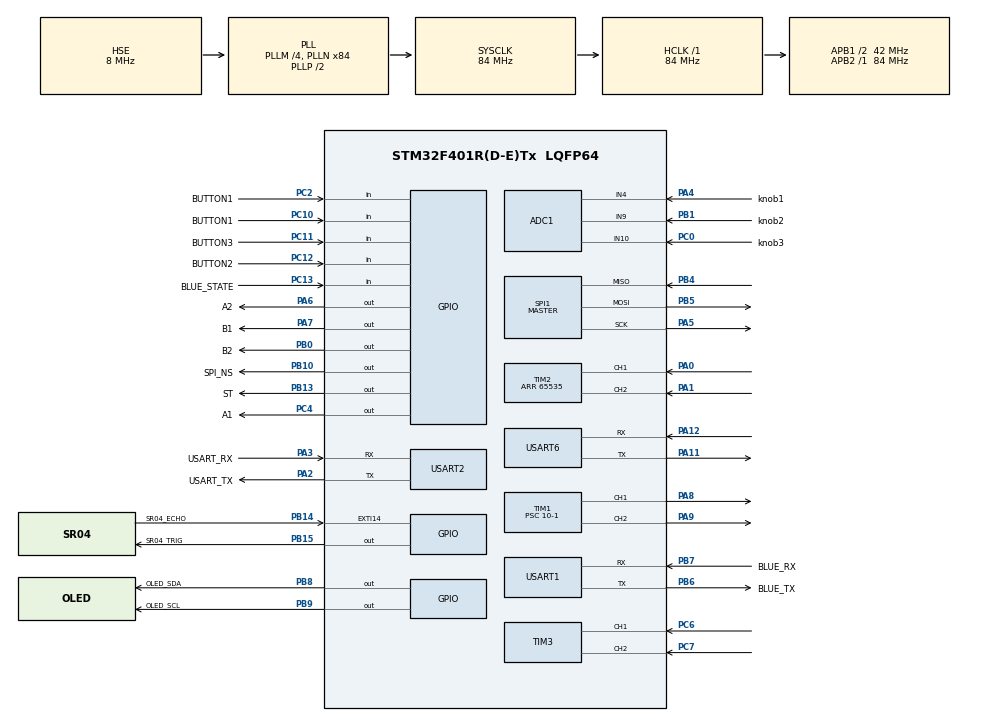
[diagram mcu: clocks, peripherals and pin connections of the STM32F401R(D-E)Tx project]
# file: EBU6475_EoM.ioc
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ADC1.Channel-0\#ChannelRegularConversion=ADC_CHANNEL_4
ADC1.Channel-1\#ChannelRegularConversion=ADC_CHANNEL_9
ADC1.Channel-2\#ChannelRegularConversion=ADC_CHANNEL_10
ADC1.NbrOfConversion=3
ADC1.NbrOfConversionFlag=1
ADC1.Rank-0\#ChannelRegularConversion=1
ADC1.Rank-1\#ChannelRegularConversion=2
ADC1.Rank-2\#ChannelRegularConversion=3
ADC1.SamplingTime-0\#ChannelRegularConversion=ADC_SAMPLETIME_28CYCLES
ADC1.SamplingTime-1\#ChannelRegularConversion=ADC_SAMPLETIME_28CYCLES
ADC1.SamplingTime-2\#ChannelRegularConversion=ADC_SAMPLETIME_28CYCLES
ADC1.master=1
Dma.ADC1.2.Direction=DMA_PERIPH_TO_MEMORY
Dma.ADC1.2.FIFOMode=DMA_FIFOMODE_DISABLE
Dma.ADC1.2.Instance=DMA2_Stream0
Dma.ADC1.2.MemDataAlignment=DMA_MDATAALIGN_WORD
Dma.ADC1.2.MemInc=DMA_MINC_ENABLE
Dma.ADC1.2.Mode=DMA_NORMAL
Dma.ADC1.2.PeriphDataAlignment=DMA_PDATAALIGN_WORD
Dma.ADC1.2.PeriphInc=DMA_PINC_DISABLE
Dma.ADC1.2.Priority=DMA_PRIORITY_LOW
Dma.Request0=USART1_RX
Dma.Request1=USART1_TX
Dma.Request2=ADC1
Dma.USART1_RX.0.Direction=DMA_PERIPH_TO_MEMORY
Dma.USART1_RX.0.FIFOMode=DMA_FIFOMODE_DISABLE
Dma.USART1_RX.0.Instance=DMA2_Stream2
Dma.USART1_RX.0.MemDataAlignment=DMA_MDATAALIGN_BYTE
Dma.USART1_RX.0.MemInc=DMA_MINC_ENABLE
Dma.USART1_RX.0.Mode=DMA_NORMAL
Dma.USART1_RX.0.PeriphDataAlignment=DMA_PDATAALIGN_BYTE
Dma.USART1_RX.0.PeriphInc=DMA_PINC_DISABLE
Dma.USART1_RX.0.Priority=DMA_PRIORITY_LOW
Dma.USART1_TX.1.Direction=DMA_MEMORY_TO_PERIPH
Dma.USART1_TX.1.FIFOMode=DMA_FIFOMODE_DISABLE
Dma.USART1_TX.1.Instance=DMA2_Stream7
Dma.USART1_TX.1.MemDataAlignment=DMA_MDATAALIGN_BYTE
Dma.USART1_TX.1.MemInc=DMA_MINC_ENABLE
Dma.USART1_TX.1.Mode=DMA_NORMAL
Dma.USART1_TX.1.PeriphDataAlignment=DMA_PDATAALIGN_BYTE
Dma.USART1_TX.1.PeriphInc=DMA_PINC_DISABLE
Dma.USART1_TX.1.Priority=DMA_PRIORITY_LOW
FREERTOS.Tasks01=Task_OLED,16,400,AppTask_OLED,Default,NULL,Dynamic,NULL,NULL;Task_CarControl,40,400,AppTask_CarControl,Default,NULL,Dynamic,NULL,NULL;Task_SR04,32,300,AppTask_SR04,Default,NULL,Dynamic,NULL,NULL;Task_Bluetooth,24,384,AppTask_Bluetooth,Default,NULL,Dynamic,NULL,NULL;Task_Knob,8,256,AppTask_Knob,Default,NULL,Dynamic,NULL,NULL;Taks_ObsAvoid,8,256,AppTask_ObsAvoid,Default,NULL,Dynamic,NULL,NULL;Task_Abnormal,24,128,AppTask_AbnormalDetect,Default,NULL,Dynamic,NULL,NULL
FREERTOS.configGENERATE_RUN_TIME_STATS=1
FREERTOS.configRECORD_STACK_HIGH_ADDRESS=1
FREERTOS.configUSE_STATS_FORMATTING_FUNCTIONS=1
Mcu.Family=STM32F4
Mcu.Name=STM32F401R(D-E)Tx
Mcu.Package=LQFP64
NVIC.DMA2_Stream0_IRQn=true\:5\:0\:false\:false\:true\:true\:false\:true\:true
NVIC.DMA2_Stream2_IRQn=true\:5\:0\:false\:false\:true\:true\:false\:true\:true
NVIC.DMA2_Stream7_IRQn=true\:5\:0\:false\:false\:true\:true\:false\:true\:true
NVIC.EXTI15_10_IRQn=true\:5\:0\:false\:false\:true\:false\:true\:true\:true
NVIC.PriorityGroup=NVIC_PRIORITYGROUP_4
NVIC.TIM1_TRG_COM_TIM11_IRQn=true\:0\:0\:true\:false\:true\:false\:false\:true\:true
NVIC.TIM1_UP_TIM10_IRQn=true\:5\:0\:false\:false\:true\:true\:true\:true\:true
NVIC.TIM4_IRQn=true\:5\:0\:true\:false\:true\:true\:true\:true\:true
NVIC.TimeBase=TIM1_TRG_COM_TIM11_IRQn
NVIC.TimeBaseIP=TIM11
NVIC.USART1_IRQn=true\:5\:0\:false\:false\:true\:true\:true\:true\:true
NVIC.USART6_IRQn=true\:5\:0\:false\:false\:true\:true\:true\:true\:true
PA0-WKUP.Signal=S_TIM2_CH1_ETR
PA1.Signal=S_TIM2_CH2
PA11.Mode=Asynchronous
PA11.Signal=USART6_TX
PA12.Mode=Asynchronous
PA12.Signal=USART6_RX
PA13.GPIO_Label=TMS
PA13.Mode=Trace_Asynchronous_SW
PA13.Signal=SYS_JTMS-SWDIO
PA14.GPIO_Label=TCK
PA14.Mode=Trace_Asynchronous_SW
PA14.Signal=SYS_JTCK-SWCLK
PA2.GPIO_Label=USART_TX
PA2.GPIO_Mode=GPIO_MODE_AF_PP
PA2.GPIO_PuPd=GPIO_NOPULL
PA2.GPIO_Speed=GPIO_SPEED_FREQ_LOW
PA2.Mode=Asynchronous
PA2.Signal=USART2_TX
PA3.GPIO_Label=USART_RX
PA3.GPIO_Mode=GPIO_MODE_AF_PP
PA3.GPIO_PuPd=GPIO_NOPULL
PA3.GPIO_Speed=GPIO_SPEED_FREQ_LOW
PA3.Mode=Asynchronous
PA3.Signal=USART2_RX
PA4.GPIO_Label=knob1
PA4.Signal=ADCx_IN4
PA5.Mode=Full_Duplex_Master
PA5.Signal=SPI1_SCK
PA6.GPIO_Label=A2
PA6.GPIO_Speed=GPIO_SPEED_FREQ_HIGH
PA6.Signal=GPIO_Output
PA7.GPIO_Label=B1
PA7.GPIO_Speed=GPIO_SPEED_FREQ_HIGH
PA7.Signal=GPIO_Output
PA8.Signal=S_TIM1_CH1
PA9.Signal=S_TIM1_CH2
PB0.GPIO_Label=B2
PB0.GPIO_Speed=GPIO_SPEED_FREQ_HIGH
PB0.Signal=GPIO_Output
PB1.GPIO_Label=knob2
PB1.Signal=ADCx_IN9
PB10.GPIO_Label=SPI_NS
PB10.Signal=GPIO_Output
PB13.GPIO_Label=ST
PB13.Signal=GPIO_Output
PB14.GPIO_Label=SR04_ECHO
PB14.GPIO_ModeDefaultEXTI=GPIO_MODE_IT_RISING_FALLING
PB14.Signal=GPXTI14
PB15.GPIO_Label=SR04_TRIG
PB15.Signal=GPIO_Output
PB3.GPIO_Label=SWO
PB3.Mode=Trace_Asynchronous_SW
PB3.Signal=SYS_JTDO-SWO
PB4.Mode=Full_Duplex_Master
PB4.Signal=SPI1_MISO
PB5.Mode=Full_Duplex_Master
PB5.Signal=SPI1_MOSI
PB6.GPIO_Label=BLUE_TX
PB6.Mode=Asynchronous
PB6.Signal=USART1_TX
PB7.GPIO_Label=BLUE_RX
PB7.Mode=Asynchronous
PB7.Signal=USART1_RX
PB8.GPIO_Label=OLED_SDA
PB8.GPIO_Speed=GPIO_SPEED_FREQ_HIGH
PB8.Signal=GPIO_Output
PB9.GPIO_Label=OLED_SCL
PB9.GPIO_Speed=GPIO_SPEED_FREQ_HIGH
PB9.Signal=GPIO_Output
PC0.GPIO_Label=knob3
PC0.Signal=ADCx_IN10
PC10.GPIO_Label=BUTTON1
PC10.GPIO_PuPd=GPIO_PULLUP
PC10.Signal=GPIO_Input
PC11.GPIO_Label=BUTTON3
PC11.GPIO_PuPd=GPIO_PULLUP
PC11.Signal=GPIO_Input
PC12.GPIO_Label=BUTTON2
PC12.GPIO_PuPd=GPIO_PULLUP
PC12.Signal=GPIO_Input
PC13-ANTI_TAMP.GPIO_Label=BLUE_STATE
PC13-ANTI_TAMP.Signal=GPIO_Input
PC14-OSC32_IN.Mode=LSE-External-Oscillator
PC14-OSC32_IN.Signal=RCC_OSC32_IN
PC15-OSC32_OUT.Mode=LSE-External-Oscillator
PC15-OSC32_OUT.Signal=RCC_OSC32_OUT
PC2.GPIO_Label=BUTTON1
PC2.GPIO_PuPd=GPIO_PULLUP
PC2.Signal=GPIO_Input
PC4.GPIO_Label=A1
PC4.GPIO_Speed=GPIO_SPEED_FREQ_HIGH
PC4.Signal=GPIO_Output
PC6.Signal=S_TIM3_CH1
PC7.Signal=S_TIM3_CH2
PH0\ -\ OSC_IN.Mode=HSE-External-Clock-Source
PH0\ -\ OSC_IN.Signal=RCC_OSC_IN
PH1\ -\ OSC_OUT.Mode=HSE-External-Clock-Source
PH1\ -\ OSC_OUT.Signal=RCC_OSC_OUT
ProjectManager.HeapSize=0x200
ProjectManager.StackSize=0x400
ProjectManager.TargetToolchain=STM32CubeIDE
RCC.48MHZClocksFreq_Value=24000000
RCC.AHBFreq_Value=84000000
RCC.APB1CLKDivider=RCC_HCLK_DIV2
RCC.APB1Freq_Value=42000000
RCC.APB1TimFreq_Value=84000000
RCC.APB2Freq_Value=84000000
RCC.APB2TimFreq_Value=84000000
RCC.CortexFreq_Value=84000000
RCC.HCLKFreq_Value=84000000
RCC.HSE_VALUE=8000000
RCC.HSI_VALUE=16000000
RCC.PLLM=4
RCC.PLLN=84
RCC.PLLQ=7
RCC.PLLSourceVirtual=RCC_PLLSOURCE_HSE
RCC.SYSCLKFreq_VALUE=84000000
RCC.SYSCLKSource=RCC_SYSCLKSOURCE_PLLCLK
RCC.VCOOutputFreq_Value=168000000
SH.ADCx_IN10.0=ADC1_IN10,IN10
SH.ADCx_IN4.0=ADC1_IN4,IN4
SH.ADCx_IN9.0=ADC1_IN9,IN9
SH.S_TIM1_CH1.0=TIM1_CH1,PWM Generation1 CH1
SH.S_TIM1_CH2.0=TIM1_CH2,PWM Generation2 CH2
SH.S_TIM2_CH1_ETR.0=TIM2_CH1,Encoder_Interface
SH.S_TIM2_CH2.0=TIM2_CH2,Encoder_Interface
SH.S_TIM3_CH1.0=TIM3_CH1,Encoder_Interface
SH.S_TIM3_CH2.0=TIM3_CH2,Encoder_Interface
SPI1.BaudRatePrescaler=SPI_BAUDRATEPRESCALER_128
SPI1.CLKPhase=SPI_PHASE_2EDGE
SPI1.CLKPolarity=SPI_POLARITY_HIGH
SPI1.Direction=SPI_DIRECTION_2LINES
SPI1.Mode=SPI_MODE_MASTER
SPI1.VirtualType=VM_MASTER
TIM1.AutoReloadPreload=TIM_AUTORELOAD_PRELOAD_ENABLE
TIM1.AutomaticOutput=TIM_AUTOMATICOUTPUT_DISABLE
TIM1.BreakState=TIM_BREAK_DISABLE
TIM1.Channel-PWM\ Generation1\ CH1=TIM_CHANNEL_1
TIM1.Channel-PWM\ Generation2\ CH2=TIM_CHANNEL_2
TIM1.OCPolarity_2=TIM_OCPOLARITY_HIGH
TIM1.OffStateIDLEMode=TIM_OSSI_DISABLE
TIM1.OffStateRunMode=TIM_OSSR_DISABLE
TIM1.Period=840-1
TIM1.Prescaler=10-1
TIM10.Period=15000-1
TIM10.Prescaler=8400-1
TIM2.EncoderMode=TIM_ENCODERMODE_TI12
TIM2.IC1Filter=15
TIM2.IC2Filter=15
TIM2.Period=65535
TIM3.EncoderMode=TIM_ENCODERMODE_TI12
TIM3.IC1Filter=15
TIM3.IC2Filter=15
TIM4.Period=50000-1
TIM4.Prescaler=8400-1
TIM5.Prescaler=84-1
USART1.VirtualMode=VM_ASYNC
USART2.VirtualMode=VM_ASYNC
USART6.VirtualMode=VM_ASYNC
VP_FREERTOS_VS_CMSIS_V2.Mode=CMSIS_V2
VP_SYS_VS_tim11.Mode=TIM11
VP_TIM10_VS_ClockSourceINT.Mode=Enable_Timer
VP_TIM1_VS_ClockSourceINT.Mode=Internal
VP_TIM4_VS_ClockSourceINT.Mode=Internal
VP_TIM5_VS_ClockSourceINT.Mode=Internal
board=NUCLEO-F401RE

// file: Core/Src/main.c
/* USER CODE BEGIN Header */
/**
  ******************************************************************************
  * @file           : main.c
  * @brief          : Main program body
  ******************************************************************************
  * @attention
  *
  * Copyright (c) 2025 STMicroelectronics.
  * All rights reserved.
  *
  * This software is licensed under terms that can be found in the LICENSE file
  * in the root directory of this software component.
  * If no LICENSE file comes with this software, it is provided AS-IS.
  *
  ******************************************************************************
  */
/* USER CODE END Header */
#include "main.h"
#include "cmsis_os.h"
#include "adc.h"
#include "dma.h"
#include "spi.h"
#include "tim.h"
#include "usart.h"
#include "gpio.h"

/* USER CODE BEGIN Includes */
#include "headerfile.h"
/* USER CODE END Includes */

/* USER CODE BEGIN PV */
uint8_t rx_buffer[50];
/* USER CODE END PV */

void SystemClock_Config(void);
void MX_FREERTOS_Init(void);

int main(void)
{

  /* MCU Configuration--------------------------------------------------------*/

  /* Reset of all peripherals, Initializes the Flash interface and the Systick. */
  HAL_Init();

  /* Configure the system clock */
  SystemClock_Config();

  /* Initialize all configured peripherals */
  MX_GPIO_Init();
  MX_DMA_Init();
  MX_USART2_UART_Init();
  MX_TIM1_Init();
  MX_TIM2_Init();
  MX_TIM3_Init();
  MX_TIM5_Init();
  MX_SPI1_Init();
  MX_USART1_UART_Init();
  MX_ADC1_Init();
  MX_TIM4_Init();
  MX_USART6_UART_Init();
  MX_TIM10_Init();
  /* USER CODE BEGIN 2 */
  OLED_Init();
  mpu6500_init();
  HAL_TIM_Base_Start_IT(&htim4);
  HAL_UARTEx_ReceiveToIdle_DMA(&huart1, rx_buffer, sizeof(rx_buffer));
  HAL_UART_Receive_IT(&huart6, &uart6_receive, 1);
  __HAL_DMA_DISABLE_IT(&hdma_usart1_rx, DMA_IT_HT);
  Motor_Init();

  /* USER CODE END 2 */

  /* Init scheduler */
  osKernelInitialize();

  /* Call init function for freertos objects (in cmsis_os2.c) */
  MX_FREERTOS_Init();

  /* Start scheduler */
  osKernelStart();

  /* We should never get here as control is now taken by the scheduler */

  /* Infinite loop */
  /* USER CODE BEGIN WHILE */
  while (1) {
    // Motor_SetSpeed(speed);
    // speed == 65 ? speed = 65 : speed++;
    // HAL_Delay(1000);

    // SR04_GetDistance();
    // OLED_Update();
    // HAL_Delay(200);

    // sprintf((char*)message, "c1: %ld   ", motor_counter_1);
    // OLED_ShowString(3, 1, (char*)message);
    // sprintf((char*)message, "c2: %ld   ", motor_counter_2);
    // OLED_ShowString(4, 1, (char*)message);
    // HAL_Delay(100);
    /* USER CODE END WHILE */

  }
}

void SystemClock_Config(void)
{
  RCC_OscInitTypeDef RCC_OscInitStruct = {0};
  RCC_ClkInitTypeDef RCC_ClkInitStruct = {0};

  /** Configure the main internal regulator output voltage
  */
  __HAL_RCC_PWR_CLK_ENABLE();
  __HAL_PWR_VOLTAGESCALING_CONFIG(PWR_REGULATOR_VOLTAGE_SCALE2);

  /** Initializes the RCC Oscillators according to the specified parameters
  * in the RCC_OscInitTypeDef structure.
  */
  RCC_OscInitStruct.OscillatorType = RCC_OSCILLATORTYPE_HSE;
  RCC_OscInitStruct.HSEState = RCC_HSE_BYPASS;
  RCC_OscInitStruct.PLL.PLLState = RCC_PLL_ON;
  RCC_OscInitStruct.PLL.PLLSource = RCC_PLLSOURCE_HSE;
  RCC_OscInitStruct.PLL.PLLM = 4;
  RCC_OscInitStruct.PLL.PLLN = 84;
  RCC_OscInitStruct.PLL.PLLP = RCC_PLLP_DIV2;
  RCC_OscInitStruct.PLL.PLLQ = 7;
  if (HAL_RCC_OscConfig(&RCC_OscInitStruct) != HAL_OK)
  {
    Error_Handler();
  }

  /** Initializes the CPU, AHB and APB buses clocks
  */
  RCC_ClkInitStruct.ClockType = RCC_CLOCKTYPE_HCLK|RCC_CLOCKTYPE_SYSCLK
                              |RCC_CLOCKTYPE_PCLK1|RCC_CLOCKTYPE_PCLK2;
  RCC_ClkInitStruct.SYSCLKSource = RCC_SYSCLKSOURCE_PLLCLK;
  RCC_ClkInitStruct.AHBCLKDivider = RCC_SYSCLK_DIV1;
  RCC_ClkInitStruct.APB1CLKDivider = RCC_HCLK_DIV2;
  RCC_ClkInitStruct.APB2CLKDivider = RCC_HCLK_DIV1;

  if (HAL_RCC_ClockConfig(&RCC_ClkInitStruct, FLASH_LATENCY_2) != HAL_OK)
  {
    Error_Handler();
  }
}

void HAL_TIM_PeriodElapsedCallback(TIM_HandleTypeDef *htim)
{
  if (htim->Instance == TIM11)
  {
    HAL_IncTick();
  }
  /* USER CODE BEGIN Callback 1 */
  if (htim->Instance == TIM4) {

    if (speed_lock != 1 && barrier_distance_lock != 1)
    {
      show_mode = 0;
      select_option = 1;
      if (show_mode != 0) {
        OLED_Clear();
      }
    }
  }

  if (htim->Instance == TIM10) {

  }
  /* USER CODE END Callback 1 */
}

void Error_Handler(void)
{
  __disable_irq();
  while (1) {
  }
}

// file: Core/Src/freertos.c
/* USER CODE BEGIN Header */
/**
  ******************************************************************************
  * File Name          : freertos.c
  * Description        : Code for freertos applications
  ******************************************************************************
  * @attention
  *
  * Copyright (c) 2025 STMicroelectronics.
  * All rights reserved.
  *
  * This software is licensed under terms that can be found in the LICENSE file
  * in the root directory of this software component.
  * If no LICENSE file comes with this software, it is provided AS-IS.
  *
  ******************************************************************************
  */
/* USER CODE END Header */

#include "FreeRTOS.h"
#include "task.h"
#include "main.h"
#include "cmsis_os.h"

/* USER CODE BEGIN Includes */
#include "headerfile.h"
/* USER CODE END Includes */

/* Definitions for Task_OLED */
osThreadId_t Task_OLEDHandle;
const osThreadAttr_t Task_OLED_attributes = {
  .name = "Task_OLED",
  .stack_size = 400 * 4,
  .priority = (osPriority_t) osPriorityBelowNormal,
};
/* Definitions for Task_CarControl */
osThreadId_t Task_CarControlHandle;
const osThreadAttr_t Task_CarControl_attributes = {
  .name = "Task_CarControl",
  .stack_size = 400 * 4,
  .priority = (osPriority_t) osPriorityHigh,
};
/* Definitions for Task_SR04 */
osThreadId_t Task_SR04Handle;
const osThreadAttr_t Task_SR04_attributes = {
  .name = "Task_SR04",
  .stack_size = 300 * 4,
  .priority = (osPriority_t) osPriorityAboveNormal,
};
/* Definitions for Task_Bluetooth */
osThreadId_t Task_BluetoothHandle;
const osThreadAttr_t Task_Bluetooth_attributes = {
  .name = "Task_Bluetooth",
  .stack_size = 384 * 4,
  .priority = (osPriority_t) osPriorityNormal,
};
/* Definitions for Task_Knob */
osThreadId_t Task_KnobHandle;
const osThreadAttr_t Task_Knob_attributes = {
  .name = "Task_Knob",
  .stack_size = 256 * 4,
  .priority = (osPriority_t) osPriorityLow,
};
/* Definitions for Taks_ObsAvoid */
osThreadId_t Taks_ObsAvoidHandle;
const osThreadAttr_t Taks_ObsAvoid_attributes = {
  .name = "Taks_ObsAvoid",
  .stack_size = 256 * 4,
  .priority = (osPriority_t) osPriorityLow,
};
/* Definitions for Task_Abnormal */
osThreadId_t Task_AbnormalHandle;
const osThreadAttr_t Task_Abnormal_attributes = {
  .name = "Task_Abnormal",
  .stack_size = 128 * 4,
  .priority = (osPriority_t) osPriorityNormal,
};

void AppTask_OLED(void *argument);
void AppTask_CarControl(void *argument);
void AppTask_SR04(void *argument);
void AppTask_Bluetooth(void *argument);
void AppTask_Knob(void *argument);
void AppTask_ObsAvoid(void *argument);
void AppTask_AbnormalDetect(void *argument);

void MX_FREERTOS_Init(void); /* (MISRA C 2004 rule 8.1) */

/* Hook prototypes */
void configureTimerForRunTimeStats(void);
unsigned long getRunTimeCounterValue(void);

/* USER CODE BEGIN 1 */
/* Functions needed when configGENERATE_RUN_TIME_STATS is on */
__weak void configureTimerForRunTimeStats(void)
{

}

__weak unsigned long getRunTimeCounterValue(void)
{
return 0;
}
/* USER CODE END 1 */

void MX_FREERTOS_Init(void) {

  /* Create the thread(s) */
  /* creation of Task_OLED */
  Task_OLEDHandle = osThreadNew(AppTask_OLED, NULL, &Task_OLED_attributes);

  /* creation of Task_CarControl */
  Task_CarControlHandle = osThreadNew(AppTask_CarControl, NULL, &Task_CarControl_attributes);

  /* creation of Task_SR04 */
  Task_SR04Handle = osThreadNew(AppTask_SR04, NULL, &Task_SR04_attributes);

  /* creation of Task_Bluetooth */
  Task_BluetoothHandle = osThreadNew(AppTask_Bluetooth, NULL, &Task_Bluetooth_attributes);

  /* creation of Task_Knob */
  Task_KnobHandle = osThreadNew(AppTask_Knob, NULL, &Task_Knob_attributes);

  /* creation of Taks_ObsAvoid */
  Taks_ObsAvoidHandle = osThreadNew(AppTask_ObsAvoid, NULL, &Taks_ObsAvoid_attributes);

  /* creation of Task_Abnormal */
  Task_AbnormalHandle = osThreadNew(AppTask_AbnormalDetect, NULL, &Task_Abnormal_attributes);

}

void AppTask_OLED(void *argument)
{
  /* USER CODE BEGIN AppTask_OLED */
  /* Infinite loop */
  for (;;) {
    OLED_Update();
    vTaskDelay(200);
  }
  /* USER CODE END AppTask_OLED */
}

void AppTask_CarControl(void *argument)
{
  /* USER CODE BEGIN AppTask_CarControl */
  /* Infinite loop */
  for (;;) {
    mpu6500_getdata();
    GetSpeed();
    control();
    // Motor_SetSpeed(100, 100);
    vTaskDelay(10);
  }
  /* USER CODE END AppTask_CarControl */
}

void AppTask_SR04(void *argument)
{
  /* USER CODE BEGIN AppTask_SR04 */
  /* Infinite loop */
  for (;;) {
    SR04_GetDistance();
    vTaskDelay(300);
  }
  /* USER CODE END AppTask_SR04 */
}

void AppTask_Bluetooth(void *argument)
{
  /* USER CODE BEGIN AppTask_Bluetooth */
  /* Infinite loop */
  for (;;) {
    // uart_para_send();
    bluetooth_control();
    bluetooth_state_scan();
    vTaskDelay(50);
  }
  /* USER CODE END AppTask_Bluetooth */
}

void AppTask_Knob(void *argument)
{
  /* USER CODE BEGIN AppTask_Knob */
  /* Infinite loop */
  for (;;) {
    key_scan();
    get_adc();
    set_speed();
    vTaskDelay(50);
  }
  /* USER CODE END AppTask_Knob */
}

void AppTask_ObsAvoid(void *argument)
{
  /* USER CODE BEGIN AppTask_ObsAvoid */
  /* Infinite loop */
  for(;;) {
  barrier();
    vTaskDelay(100);
  }
  /* USER CODE END AppTask_ObsAvoid */
}

void AppTask_AbnormalDetect(void *argument)
{
  /* USER CODE BEGIN AppTask_AbnormalDetect */
  int8_t states[4] = {0,0,0,0};

  /* Infinite loop */
  for(uint8_t i=0;;i=(i+1)%4)
  {
    states[i] = getAbnormalState();
    if (states[0] && states[1] && states[2] && states[3]) stop = 1;
    vTaskDelay(80);
  }
  /* USER CODE END AppTask_AbnormalDetect */
}
